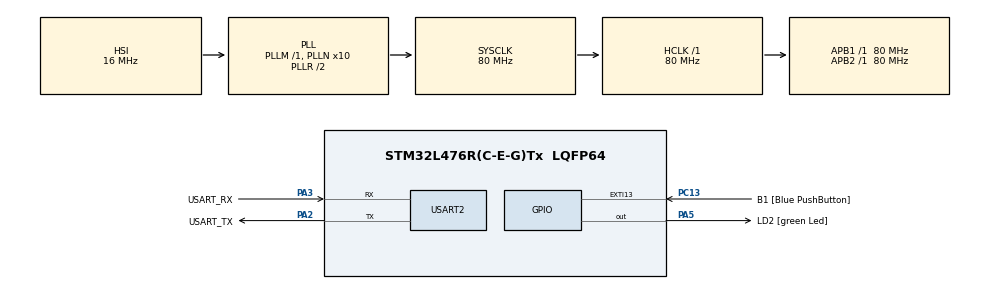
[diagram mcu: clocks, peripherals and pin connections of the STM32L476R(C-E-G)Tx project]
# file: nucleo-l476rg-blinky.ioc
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ADC1.Channel-0\#ChannelRegularConversion=ADC_CHANNEL_TEMPSENSOR
ADC1.ClockPrescaler=ADC_CLOCK_SYNC_PCLK_DIV4
ADC1.NbrOfConversionFlag=1
ADC1.OffsetNumber-0\#ChannelRegularConversion=ADC_OFFSET_NONE
ADC1.Rank-0\#ChannelRegularConversion=1
ADC1.SamplingTime-0\#ChannelRegularConversion=ADC_SAMPLETIME_2CYCLES_5
ADC1.master=1
Mcu.Family=STM32L4
Mcu.Name=STM32L476R(C-E-G)Tx
Mcu.Package=LQFP64
NVIC.PriorityGroup=NVIC_PRIORITYGROUP_4
PA13\ (JTMS-SWDIO).GPIO_Label=TMS
PA13\ (JTMS-SWDIO).Mode=Serial_Wire
PA13\ (JTMS-SWDIO).Signal=SYS_JTMS-SWDIO
PA14\ (JTCK-SWCLK).GPIO_Label=TCK
PA14\ (JTCK-SWCLK).Mode=Serial_Wire
PA14\ (JTCK-SWCLK).Signal=SYS_JTCK-SWCLK
PA2.GPIO_Label=USART_TX
PA2.GPIO_Mode=GPIO_MODE_AF_PP
PA2.GPIO_PuPd=GPIO_NOPULL
PA2.GPIO_Speed=GPIO_SPEED_FREQ_VERY_HIGH
PA2.Mode=Asynchronous
PA2.Signal=USART2_TX
PA3.GPIO_Label=USART_RX
PA3.GPIO_Mode=GPIO_MODE_AF_PP
PA3.GPIO_PuPd=GPIO_NOPULL
PA3.GPIO_Speed=GPIO_SPEED_FREQ_VERY_HIGH
PA3.Mode=Asynchronous
PA3.Signal=USART2_RX
PA5.GPIO_Label=LD2 [green Led]
PA5.GPIO_ModeDefaultOutputPP=GPIO_MODE_OUTPUT_PP
PA5.GPIO_PuPd=GPIO_NOPULL
PA5.GPIO_Speed=GPIO_SPEED_FREQ_LOW
PA5.Signal=GPIO_Output
PB3\ (JTDO-TRACESWO).GPIO_Label=SWO
PB3\ (JTDO-TRACESWO).Signal=SYS_JTDO-SWO
PC13.GPIO_Label=B1 [Blue PushButton]
PC13.GPIO_ModeDefaultEXTI=GPIO_MODE_IT_FALLING
PC13.GPIO_PuPd=GPIO_NOPULL
PC13.Signal=GPXTI13
PC14-OSC32_IN\ (PC14).Mode=LSE-External-Oscillator
PC14-OSC32_IN\ (PC14).Signal=RCC_OSC32_IN
PC15-OSC32_OUT\ (PC15).Mode=LSE-External-Oscillator
PC15-OSC32_OUT\ (PC15).Signal=RCC_OSC32_OUT
PH0-OSC_IN\ (PH0).Signal=RCC_OSC_IN
PH1-OSC_OUT\ (PH1).Signal=RCC_OSC_OUT
ProjectManager.HeapSize=0x200
ProjectManager.StackSize=0x400
ProjectManager.TargetToolchain=STM32CubeIDE
RCC.ADCFreq_Value=64000000
RCC.AHBFreq_Value=80000000
RCC.APB1Freq_Value=80000000
RCC.APB1TimFreq_Value=80000000
RCC.APB2Freq_Value=80000000
RCC.APB2TimFreq_Value=80000000
RCC.CortexFreq_Value=80000000
RCC.HCLKFreq_Value=80000000
RCC.HSE_VALUE=8000000
RCC.HSI_VALUE=16000000
RCC.MSI_VALUE=4000000
RCC.PLLN=10
RCC.PLLSourceVirtual=RCC_PLLSOURCE_HSI
RCC.PREFETCH_ENABLE=1
RCC.SYSCLKFreq_VALUE=80000000
RCC.SYSCLKSource=RCC_SYSCLKSOURCE_PLLCLK
RCC.USBFreq_Value=64000000
RCC.VCOOutputFreq_Value=160000000
USART2.VirtualMode-Asynchronous=VM_ASYNC
VP_ADC1_TempSens_Input.Mode=IN-TempSens
board=NUCLEO-L476RG

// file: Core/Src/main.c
/* USER CODE BEGIN Header */
/**
  ******************************************************************************
  * @file           : main.c
  * @brief          : Main program body
  ******************************************************************************
  * @attention
  *
  * Copyright (c) 2022 STMicroelectronics.
  * All rights reserved.
  *
  * This software is licensed under terms that can be found in the LICENSE file
  * in the root directory of this software component.
  * If no LICENSE file comes with this software, it is provided AS-IS.
  *
  ******************************************************************************
  */
/* USER CODE END Header */
#include "main.h"

/* USER CODE BEGIN Includes */
#include "string.h"
#include "stdio.h"
#include "stm32l4xx_hal_adc.h"
/* USER CODE END Includes */

/* USER CODE BEGIN PD */
// set reference voltage value to value from VDD(3300 mV)
#define REFERENCE_VOLTAGE VDD_VALUE
/* USER CODE END PD */

 ADC_HandleTypeDef hadc1;

UART_HandleTypeDef huart2;

void SystemClock_Config(void);
static void MX_GPIO_Init(void);
static void MX_USART2_UART_Init(void);
static void MX_ADC1_Init(void);
/* USER CODE BEGIN PFP */
uint32_t GetTempCelsius(void);
/* USER CODE END PFP */

/* USER CODE BEGIN 0 */
uint32_t GetTempCelsius(void)
{
	uint32_t ADC_Value;

	uint32_t temp;

	// start new calibration
	HAL_ADCEx_Calibration_Start(&hadc1, ADC_SINGLE_ENDED);

	// start polling
	HAL_ADC_Start(&hadc1);

	//check polling return
	if(HAL_ADC_PollForConversion(&hadc1, 100) == HAL_OK)
	{
		//get the ADC value
		ADC_Value = HAL_ADC_GetValue(&hadc1);

		// stop polling
	    HAL_ADC_Stop(&hadc1);

	    //convert ADC value to degrees Celsius
	    temp = __HAL_ADC_CALC_TEMPERATURE(REFERENCE_VOLTAGE, ADC_Value, hadc1.Init.Resolution);
	}
	else
	{
	    temp = -273;
	}

	return temp;
}
/* USER CODE END 0 */

int main(void)
{

  /* MCU Configuration--------------------------------------------------------*/

  /* Reset of all peripherals, Initializes the Flash interface and the Systick. */
  HAL_Init();

  /* USER CODE BEGIN Init */

  // data buffer for UART
  uint8_t data[20];

  uint32_t tempC;
  /* USER CODE END Init */

  /* Configure the system clock */
  SystemClock_Config();

  /* Initialize all configured peripherals */
  MX_GPIO_Init();
  MX_USART2_UART_Init();
  MX_ADC1_Init();

  /* Infinite loop */
  /* USER CODE BEGIN WHILE */
  while (1)
  {
	  // get temperature reading
	  tempC = GetTempCelsius();

	  // write temperature to buffer
	  sprintf((char*)data, "TEMP: %lu C \r\n", tempC);

	  // send to console via Serial
	  HAL_UART_Transmit(&huart2, data, sizeof(data), 10);

	  // Toggle LD2 LED on-off
	  HAL_GPIO_TogglePin(GPIOA, GPIO_PIN_5);

	  // clear data buffer
	  memset(data, 0, sizeof(data));
	  HAL_Delay(1000);
    /* USER CODE END WHILE */

  }
}

void SystemClock_Config(void)
{
  RCC_OscInitTypeDef RCC_OscInitStruct = {0};
  RCC_ClkInitTypeDef RCC_ClkInitStruct = {0};

  /** Configure the main internal regulator output voltage
  */
  if (HAL_PWREx_ControlVoltageScaling(PWR_REGULATOR_VOLTAGE_SCALE1) != HAL_OK)
  {
    Error_Handler();
  }

  /** Initializes the RCC Oscillators according to the specified parameters
  * in the RCC_OscInitTypeDef structure.
  */
  RCC_OscInitStruct.OscillatorType = RCC_OSCILLATORTYPE_HSI;
  RCC_OscInitStruct.HSIState = RCC_HSI_ON;
  RCC_OscInitStruct.HSICalibrationValue = RCC_HSICALIBRATION_DEFAULT;
  RCC_OscInitStruct.PLL.PLLState = RCC_PLL_ON;
  RCC_OscInitStruct.PLL.PLLSource = RCC_PLLSOURCE_HSI;
  RCC_OscInitStruct.PLL.PLLM = 1;
  RCC_OscInitStruct.PLL.PLLN = 10;
  RCC_OscInitStruct.PLL.PLLP = RCC_PLLP_DIV7;
  RCC_OscInitStruct.PLL.PLLQ = RCC_PLLQ_DIV2;
  RCC_OscInitStruct.PLL.PLLR = RCC_PLLR_DIV2;
  if (HAL_RCC_OscConfig(&RCC_OscInitStruct) != HAL_OK)
  {
    Error_Handler();
  }

  /** Initializes the CPU, AHB and APB buses clocks
  */
  RCC_ClkInitStruct.ClockType = RCC_CLOCKTYPE_HCLK|RCC_CLOCKTYPE_SYSCLK
                              |RCC_CLOCKTYPE_PCLK1|RCC_CLOCKTYPE_PCLK2;
  RCC_ClkInitStruct.SYSCLKSource = RCC_SYSCLKSOURCE_PLLCLK;
  RCC_ClkInitStruct.AHBCLKDivider = RCC_SYSCLK_DIV1;
  RCC_ClkInitStruct.APB1CLKDivider = RCC_HCLK_DIV1;
  RCC_ClkInitStruct.APB2CLKDivider = RCC_HCLK_DIV1;

  if (HAL_RCC_ClockConfig(&RCC_ClkInitStruct, FLASH_LATENCY_4) != HAL_OK)
  {
    Error_Handler();
  }
}

static void MX_ADC1_Init(void)
{

  ADC_MultiModeTypeDef multimode = {0};
  ADC_ChannelConfTypeDef sConfig = {0};

  /** Common config
  */
  hadc1.Instance = ADC1;
  hadc1.Init.ClockPrescaler = ADC_CLOCK_SYNC_PCLK_DIV4;
  hadc1.Init.Resolution = ADC_RESOLUTION_12B;
  hadc1.Init.DataAlign = ADC_DATAALIGN_RIGHT;
  hadc1.Init.ScanConvMode = ADC_SCAN_DISABLE;
  hadc1.Init.EOCSelection = ADC_EOC_SINGLE_CONV;
  hadc1.Init.LowPowerAutoWait = DISABLE;
  hadc1.Init.ContinuousConvMode = DISABLE;
  hadc1.Init.NbrOfConversion = 1;
  hadc1.Init.DiscontinuousConvMode = DISABLE;
  hadc1.Init.ExternalTrigConv = ADC_SOFTWARE_START;
  hadc1.Init.ExternalTrigConvEdge = ADC_EXTERNALTRIGCONVEDGE_NONE;
  hadc1.Init.DMAContinuousRequests = DISABLE;
  hadc1.Init.Overrun = ADC_OVR_DATA_PRESERVED;
  hadc1.Init.OversamplingMode = DISABLE;
  if (HAL_ADC_Init(&hadc1) != HAL_OK)
  {
    Error_Handler();
  }

  /** Configure the ADC multi-mode
  */
  multimode.Mode = ADC_MODE_INDEPENDENT;
  if (HAL_ADCEx_MultiModeConfigChannel(&hadc1, &multimode) != HAL_OK)
  {
    Error_Handler();
  }

  /** Configure Regular Channel
  */
  sConfig.Channel = ADC_CHANNEL_TEMPSENSOR;
  sConfig.Rank = ADC_REGULAR_RANK_1;
  sConfig.SamplingTime = ADC_SAMPLETIME_640CYCLES_5;
  sConfig.SingleDiff = ADC_SINGLE_ENDED;
  sConfig.OffsetNumber = ADC_OFFSET_NONE;
  sConfig.Offset = 0;
  if (HAL_ADC_ConfigChannel(&hadc1, &sConfig) != HAL_OK)
  {
    Error_Handler();
  }

}

static void MX_USART2_UART_Init(void)
{

  huart2.Instance = USART2;
  huart2.Init.BaudRate = 115200;
  huart2.Init.WordLength = UART_WORDLENGTH_8B;
  huart2.Init.StopBits = UART_STOPBITS_1;
  huart2.Init.Parity = UART_PARITY_NONE;
  huart2.Init.Mode = UART_MODE_TX_RX;
  huart2.Init.HwFlowCtl = UART_HWCONTROL_NONE;
  huart2.Init.OverSampling = UART_OVERSAMPLING_16;
  huart2.Init.OneBitSampling = UART_ONE_BIT_SAMPLE_DISABLE;
  huart2.AdvancedInit.AdvFeatureInit = UART_ADVFEATURE_NO_INIT;
  if (HAL_UART_Init(&huart2) != HAL_OK)
  {
    Error_Handler();
  }

}

static void MX_GPIO_Init(void)
{
  GPIO_InitTypeDef GPIO_InitStruct = {0};

  /* GPIO Ports Clock Enable */
  __HAL_RCC_GPIOC_CLK_ENABLE();
  __HAL_RCC_GPIOH_CLK_ENABLE();
  __HAL_RCC_GPIOA_CLK_ENABLE();
  __HAL_RCC_GPIOB_CLK_ENABLE();

  /*Configure GPIO pin Output Level */
  HAL_GPIO_WritePin(LD2_GPIO_Port, LD2_Pin, GPIO_PIN_RESET);

  /*Configure GPIO pin : B1_Pin */
  GPIO_InitStruct.Pin = B1_Pin;
  GPIO_InitStruct.Mode = GPIO_MODE_IT_FALLING;
  GPIO_InitStruct.Pull = GPIO_NOPULL;
  HAL_GPIO_Init(B1_GPIO_Port, &GPIO_InitStruct);

  /*Configure GPIO pin : LD2_Pin */
  GPIO_InitStruct.Pin = LD2_Pin;
  GPIO_InitStruct.Mode = GPIO_MODE_OUTPUT_PP;
  GPIO_InitStruct.Pull = GPIO_NOPULL;
  GPIO_InitStruct.Speed = GPIO_SPEED_FREQ_LOW;
  HAL_GPIO_Init(LD2_GPIO_Port, &GPIO_InitStruct);

}

void Error_Handler(void)
{
  __disable_irq();
  while (1)
  {
  }
}
